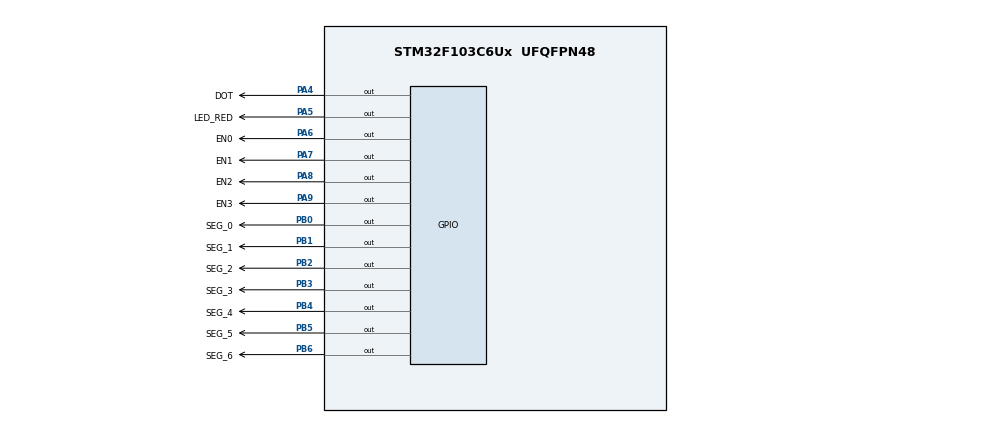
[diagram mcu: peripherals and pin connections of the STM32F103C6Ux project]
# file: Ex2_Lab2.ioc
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Mcu.Family=STM32F1
Mcu.Name=STM32F103C6Ux
Mcu.Package=UFQFPN48
NVIC.PriorityGroup=NVIC_PRIORITYGROUP_4
NVIC.TIM2_IRQn=true\:0\:0\:false\:false\:true\:true\:true
PA4.GPIO_Label=DOT
PA4.Signal=GPIO_Output
PA5.GPIO_Label=LED_RED
PA5.Signal=GPIO_Output
PA6.GPIO_Label=EN0
PA6.Signal=GPIO_Output
PA7.GPIO_Label=EN1
PA7.Signal=GPIO_Output
PA8.GPIO_Label=EN2
PA8.Signal=GPIO_Output
PA9.GPIO_Label=EN3
PA9.Signal=GPIO_Output
PB0.GPIO_Label=SEG_0
PB0.Signal=GPIO_Output
PB1.GPIO_Label=SEG_1
PB1.Signal=GPIO_Output
PB2.GPIO_Label=SEG_2
PB2.Signal=GPIO_Output
PB3.GPIO_Label=SEG_3
PB3.Signal=GPIO_Output
PB4.GPIO_Label=SEG_4
PB4.Signal=GPIO_Output
PB5.GPIO_Label=SEG_5
PB5.Signal=GPIO_Output
PB6.GPIO_Label=SEG_6
PB6.Signal=GPIO_Output
ProjectManager.HeapSize=0x200
ProjectManager.StackSize=0x400
ProjectManager.TargetToolchain=STM32CubeIDE
RCC.APB1Freq_Value=8000000
RCC.APB2Freq_Value=8000000
TIM2.Period=9
TIM2.Prescaler=7999
VP_SYS_VS_ND.Mode=No_Debug
VP_TIM2_VS_ClockSourceINT.Mode=Internal
board=custom

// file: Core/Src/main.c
/* USER CODE BEGIN Header */
/**
  ******************************************************************************
  * @file           : main.c
  * @brief          : Main program body
  ******************************************************************************
  * @attention
  *
  * <h2><center>&copy; Copyright (c) 2024 STMicroelectronics.
  * All rights reserved.</center></h2>
  *
  * This software component is licensed by ST under BSD 3-Clause license,
  * the "License"; You may not use this file except in compliance with the
  * License. You may obtain a copy of the License at:
  *                        opensource.org/licenses/BSD-3-Clause
  *
  ******************************************************************************
  */
/* USER CODE END Header */
#include "main.h"

TIM_HandleTypeDef htim2;

void SystemClock_Config(void);
static void MX_GPIO_Init(void);
static void MX_TIM2_Init(void);

int main(void)
{

  /* MCU Configuration--------------------------------------------------------*/

  /* Reset of all peripherals, Initializes the Flash interface and the Systick. */
  HAL_Init();

  /* Configure the system clock */
  SystemClock_Config();

  /* Initialize all configured peripherals */
  MX_GPIO_Init();
  MX_TIM2_Init();
  /* USER CODE BEGIN 2 */
  HAL_TIM_Base_Start_IT(&htim2);

  /* USER CODE END 2 */

  /* Infinite loop */
  while (1)
  {

  }
}

void SystemClock_Config(void)
{
  RCC_OscInitTypeDef RCC_OscInitStruct = {0};
  RCC_ClkInitTypeDef RCC_ClkInitStruct = {0};

  /** Initializes the RCC Oscillators according to the specified parameters
  * in the RCC_OscInitTypeDef structure.
  */
  RCC_OscInitStruct.OscillatorType = RCC_OSCILLATORTYPE_HSI;
  RCC_OscInitStruct.HSIState = RCC_HSI_ON;
  RCC_OscInitStruct.HSICalibrationValue = RCC_HSICALIBRATION_DEFAULT;
  RCC_OscInitStruct.PLL.PLLState = RCC_PLL_NONE;
  if (HAL_RCC_OscConfig(&RCC_OscInitStruct) != HAL_OK)
  {
    Error_Handler();
  }
  /** Initializes the CPU, AHB and APB buses clocks
  */
  RCC_ClkInitStruct.ClockType = RCC_CLOCKTYPE_HCLK|RCC_CLOCKTYPE_SYSCLK
                              |RCC_CLOCKTYPE_PCLK1|RCC_CLOCKTYPE_PCLK2;
  RCC_ClkInitStruct.SYSCLKSource = RCC_SYSCLKSOURCE_HSI;
  RCC_ClkInitStruct.AHBCLKDivider = RCC_SYSCLK_DIV1;
  RCC_ClkInitStruct.APB1CLKDivider = RCC_HCLK_DIV1;
  RCC_ClkInitStruct.APB2CLKDivider = RCC_HCLK_DIV1;

  if (HAL_RCC_ClockConfig(&RCC_ClkInitStruct, FLASH_LATENCY_0) != HAL_OK)
  {
    Error_Handler();
  }
}

static void MX_TIM2_Init(void)
{

  TIM_ClockConfigTypeDef sClockSourceConfig = {0};
  TIM_MasterConfigTypeDef sMasterConfig = {0};

  htim2.Instance = TIM2;
  htim2.Init.Prescaler = 7999;
  htim2.Init.CounterMode = TIM_COUNTERMODE_UP;
  htim2.Init.Period = 9;
  htim2.Init.ClockDivision = TIM_CLOCKDIVISION_DIV1;
  htim2.Init.AutoReloadPreload = TIM_AUTORELOAD_PRELOAD_DISABLE;
  if (HAL_TIM_Base_Init(&htim2) != HAL_OK)
  {
    Error_Handler();
  }
  sClockSourceConfig.ClockSource = TIM_CLOCKSOURCE_INTERNAL;
  if (HAL_TIM_ConfigClockSource(&htim2, &sClockSourceConfig) != HAL_OK)
  {
    Error_Handler();
  }
  sMasterConfig.MasterOutputTrigger = TIM_TRGO_RESET;
  sMasterConfig.MasterSlaveMode = TIM_MASTERSLAVEMODE_DISABLE;
  if (HAL_TIMEx_MasterConfigSynchronization(&htim2, &sMasterConfig) != HAL_OK)
  {
    Error_Handler();
  }

}

static void MX_GPIO_Init(void)
{
  GPIO_InitTypeDef GPIO_InitStruct = {0};

  /* GPIO Ports Clock Enable */
  __HAL_RCC_GPIOA_CLK_ENABLE();
  __HAL_RCC_GPIOB_CLK_ENABLE();

  /*Configure GPIO pin Output Level */
  HAL_GPIO_WritePin(GPIOA, DOT_Pin|LED_RED_Pin|EN0_Pin|EN1_Pin
                          |EN2_Pin|EN3_Pin, GPIO_PIN_RESET);

  /*Configure GPIO pin Output Level */
  HAL_GPIO_WritePin(GPIOB, SEG_0_Pin|SEG_1_Pin|SEG_2_Pin|SEG_3_Pin
                          |SEG_4_Pin|SEG_5_Pin|SEG_6_Pin, GPIO_PIN_RESET);

  /*Configure GPIO pins : DOT_Pin LED_RED_Pin EN0_Pin EN1_Pin
                           EN2_Pin EN3_Pin */
  GPIO_InitStruct.Pin = DOT_Pin|LED_RED_Pin|EN0_Pin|EN1_Pin
                          |EN2_Pin|EN3_Pin;
  GPIO_InitStruct.Mode = GPIO_MODE_OUTPUT_PP;
  GPIO_InitStruct.Pull = GPIO_NOPULL;
  GPIO_InitStruct.Speed = GPIO_SPEED_FREQ_LOW;
  HAL_GPIO_Init(GPIOA, &GPIO_InitStruct);

  /*Configure GPIO pins : SEG_0_Pin SEG_1_Pin SEG_2_Pin SEG_3_Pin
                           SEG_4_Pin SEG_5_Pin SEG_6_Pin */
  GPIO_InitStruct.Pin = SEG_0_Pin|SEG_1_Pin|SEG_2_Pin|SEG_3_Pin
                          |SEG_4_Pin|SEG_5_Pin|SEG_6_Pin;
  GPIO_InitStruct.Mode = GPIO_MODE_OUTPUT_PP;
  GPIO_InitStruct.Pull = GPIO_NOPULL;
  GPIO_InitStruct.Speed = GPIO_SPEED_FREQ_LOW;
  HAL_GPIO_Init(GPIOB, &GPIO_InitStruct);

}

/* USER CODE BEGIN 4 */
void display7SEG(int num)
  {
	  if (num == 0)
	  {
		  HAL_GPIO_WritePin(SEG_0_GPIO_Port, SEG_0_Pin, GPIO_PIN_RESET);
		  HAL_GPIO_WritePin(SEG_1_GPIO_Port, SEG_1_Pin, GPIO_PIN_RESET);
		  HAL_GPIO_WritePin(SEG_2_GPIO_Port, SEG_2_Pin, GPIO_PIN_RESET);
		  HAL_GPIO_WritePin(SEG_3_GPIO_Port, SEG_3_Pin, GPIO_PIN_RESET);
		  HAL_GPIO_WritePin(SEG_4_GPIO_Port, SEG_4_Pin, GPIO_PIN_RESET);
		  HAL_GPIO_WritePin(SEG_5_GPIO_Port, SEG_5_Pin, GPIO_PIN_RESET);
		  HAL_GPIO_WritePin(SEG_6_GPIO_Port, SEG_6_Pin, GPIO_PIN_SET);
	  }
	  else if (num == 1)
	  {
		  HAL_GPIO_WritePin(SEG_0_GPIO_Port, SEG_0_Pin, GPIO_PIN_SET);
		  HAL_GPIO_WritePin(SEG_1_GPIO_Port, SEG_1_Pin, GPIO_PIN_RESET);
		  HAL_GPIO_WritePin(SEG_2_GPIO_Port, SEG_2_Pin, GPIO_PIN_RESET);
		  HAL_GPIO_WritePin(SEG_3_GPIO_Port, SEG_3_Pin, GPIO_PIN_SET);
		  HAL_GPIO_WritePin(SEG_4_GPIO_Port, SEG_4_Pin, GPIO_PIN_SET);
		  HAL_GPIO_WritePin(SEG_5_GPIO_Port, SEG_5_Pin, GPIO_PIN_SET);
		  HAL_GPIO_WritePin(SEG_6_GPIO_Port, SEG_6_Pin, GPIO_PIN_SET);
	  }
	  else if (num == 2)
	  {
		  HAL_GPIO_WritePin(SEG_0_GPIO_Port, SEG_0_Pin, GPIO_PIN_RESET);
		  HAL_GPIO_WritePin(SEG_1_GPIO_Port, SEG_1_Pin, GPIO_PIN_RESET);
		  HAL_GPIO_WritePin(SEG_2_GPIO_Port, SEG_2_Pin, GPIO_PIN_SET);
		  HAL_GPIO_WritePin(SEG_3_GPIO_Port, SEG_3_Pin, GPIO_PIN_RESET);
		  HAL_GPIO_WritePin(SEG_4_GPIO_Port, SEG_4_Pin, GPIO_PIN_RESET);
		  HAL_GPIO_WritePin(SEG_5_GPIO_Port, SEG_5_Pin, GPIO_PIN_SET);
		  HAL_GPIO_WritePin(SEG_6_GPIO_Port, SEG_6_Pin, GPIO_PIN_RESET);
	  }
	  else if (num == 3)
	  {
		  HAL_GPIO_WritePin(SEG_0_GPIO_Port, SEG_0_Pin, GPIO_PIN_RESET);
		  HAL_GPIO_WritePin(SEG_1_GPIO_Port, SEG_1_Pin, GPIO_PIN_RESET);
		  HAL_GPIO_WritePin(SEG_2_GPIO_Port, SEG_2_Pin, GPIO_PIN_RESET);
		  HAL_GPIO_WritePin(SEG_3_GPIO_Port, SEG_3_Pin, GPIO_PIN_RESET);
		  HAL_GPIO_WritePin(SEG_4_GPIO_Port, SEG_4_Pin, GPIO_PIN_SET);
		  HAL_GPIO_WritePin(SEG_5_GPIO_Port, SEG_5_Pin, GPIO_PIN_SET);
		  HAL_GPIO_WritePin(SEG_6_GPIO_Port, SEG_6_Pin, GPIO_PIN_RESET);
	  }
	  else if (num == 4)
	  {
		  HAL_GPIO_WritePin(SEG_0_GPIO_Port, SEG_0_Pin, GPIO_PIN_SET);
		  HAL_GPIO_WritePin(SEG_1_GPIO_Port, SEG_1_Pin, GPIO_PIN_RESET);
		  HAL_GPIO_WritePin(SEG_2_GPIO_Port, SEG_2_Pin, GPIO_PIN_RESET);
		  HAL_GPIO_WritePin(SEG_3_GPIO_Port, SEG_3_Pin, GPIO_PIN_SET);
		  HAL_GPIO_WritePin(SEG_4_GPIO_Port, SEG_4_Pin, GPIO_PIN_SET);
		  HAL_GPIO_WritePin(SEG_5_GPIO_Port, SEG_5_Pin, GPIO_PIN_RESET);
		  HAL_GPIO_WritePin(SEG_6_GPIO_Port, SEG_6_Pin, GPIO_PIN_RESET);
	  }
	  else if (num == 5)
	  {
		  HAL_GPIO_WritePin(SEG_0_GPIO_Port, SEG_0_Pin, GPIO_PIN_RESET);
		  HAL_GPIO_WritePin(SEG_1_GPIO_Port, SEG_1_Pin, GPIO_PIN_SET);
		  HAL_GPIO_WritePin(SEG_2_GPIO_Port, SEG_2_Pin, GPIO_PIN_RESET);
		  HAL_GPIO_WritePin(SEG_3_GPIO_Port, SEG_3_Pin, GPIO_PIN_RESET);
		  HAL_GPIO_WritePin(SEG_4_GPIO_Port, SEG_4_Pin, GPIO_PIN_SET);
		  HAL_GPIO_WritePin(SEG_5_GPIO_Port, SEG_5_Pin, GPIO_PIN_RESET);
		  HAL_GPIO_WritePin(SEG_6_GPIO_Port, SEG_6_Pin, GPIO_PIN_RESET);
	  }
	  else if (num == 6)
	  {
		  HAL_GPIO_WritePin(SEG_0_GPIO_Port, SEG_0_Pin, GPIO_PIN_RESET);
		  HAL_GPIO_WritePin(SEG_1_GPIO_Port, SEG_1_Pin, GPIO_PIN_SET);
		  HAL_GPIO_WritePin(SEG_2_GPIO_Port, SEG_2_Pin, GPIO_PIN_RESET);
		  HAL_GPIO_WritePin(SEG_3_GPIO_Port, SEG_3_Pin, GPIO_PIN_RESET);
		  HAL_GPIO_WritePin(SEG_4_GPIO_Port, SEG_4_Pin, GPIO_PIN_RESET);
		  HAL_GPIO_WritePin(SEG_5_GPIO_Port, SEG_5_Pin, GPIO_PIN_RESET);
		  HAL_GPIO_WritePin(SEG_6_GPIO_Port, SEG_6_Pin, GPIO_PIN_RESET);
	  }
	  else if (num == 7)
	  {
		  HAL_GPIO_WritePin(SEG_0_GPIO_Port, SEG_0_Pin, GPIO_PIN_RESET);
		  HAL_GPIO_WritePin(SEG_1_GPIO_Port, SEG_1_Pin, GPIO_PIN_RESET);
		  HAL_GPIO_WritePin(SEG_2_GPIO_Port, SEG_2_Pin, GPIO_PIN_RESET);
		  HAL_GPIO_WritePin(SEG_3_GPIO_Port, SEG_3_Pin, GPIO_PIN_SET);
		  HAL_GPIO_WritePin(SEG_4_GPIO_Port, SEG_4_Pin, GPIO_PIN_SET);
		  HAL_GPIO_WritePin(SEG_5_GPIO_Port, SEG_5_Pin, GPIO_PIN_SET);
		  HAL_GPIO_WritePin(SEG_6_GPIO_Port, SEG_6_Pin, GPIO_PIN_SET);
	  }
	  else if (num == 8)
	  {
		  HAL_GPIO_WritePin(SEG_0_GPIO_Port, SEG_0_Pin, GPIO_PIN_RESET);
		  HAL_GPIO_WritePin(SEG_1_GPIO_Port, SEG_1_Pin, GPIO_PIN_RESET);
		  HAL_GPIO_WritePin(SEG_2_GPIO_Port, SEG_2_Pin, GPIO_PIN_RESET);
		  HAL_GPIO_WritePin(SEG_3_GPIO_Port, SEG_3_Pin, GPIO_PIN_RESET);
		  HAL_GPIO_WritePin(SEG_4_GPIO_Port, SEG_4_Pin, GPIO_PIN_RESET);
		  HAL_GPIO_WritePin(SEG_5_GPIO_Port, SEG_5_Pin, GPIO_PIN_RESET);
		  HAL_GPIO_WritePin(SEG_6_GPIO_Port, SEG_6_Pin, GPIO_PIN_RESET);
	  }
	  else if (num == 9)
	  {
		  HAL_GPIO_WritePin(SEG_0_GPIO_Port, SEG_0_Pin, GPIO_PIN_RESET);
		  HAL_GPIO_WritePin(SEG_1_GPIO_Port, SEG_1_Pin, GPIO_PIN_RESET);
		  HAL_GPIO_WritePin(SEG_2_GPIO_Port, SEG_2_Pin, GPIO_PIN_RESET);
		  HAL_GPIO_WritePin(SEG_3_GPIO_Port, SEG_3_Pin, GPIO_PIN_RESET);
		  HAL_GPIO_WritePin(SEG_4_GPIO_Port, SEG_4_Pin, GPIO_PIN_SET);
		  HAL_GPIO_WritePin(SEG_5_GPIO_Port, SEG_5_Pin, GPIO_PIN_RESET);
		  HAL_GPIO_WritePin(SEG_6_GPIO_Port, SEG_6_Pin, GPIO_PIN_RESET);
	  }
  }

int status = 0;
int counter = 50;
int counter1 = 100;
  void HAL_TIM_PeriodElapsedCallback(TIM_HandleTypeDef *htim)
      {
      	if(status == 0)
      	{
      		counter--;
      		HAL_GPIO_WritePin(EN0_GPIO_Port, EN0_Pin, GPIO_PIN_RESET);
      		HAL_GPIO_WritePin(EN1_GPIO_Port, EN1_Pin, GPIO_PIN_SET);
      		HAL_GPIO_WritePin(EN2_GPIO_Port, EN2_Pin, GPIO_PIN_SET);
      		HAL_GPIO_WritePin(EN3_GPIO_Port, EN3_Pin, GPIO_PIN_SET);
      		display7SEG(1);
      		if(counter <= 0)
      		{
      			counter = 50;
      			status++;
      		}
      	}
      	if(status == 1)
      	{
      		counter--;
      		HAL_GPIO_WritePin(EN0_GPIO_Port, EN0_Pin, GPIO_PIN_SET);
      		HAL_GPIO_WritePin(EN1_GPIO_Port, EN1_Pin, GPIO_PIN_RESET);
      		HAL_GPIO_WritePin(EN2_GPIO_Port, EN2_Pin, GPIO_PIN_SET);
      		HAL_GPIO_WritePin(EN3_GPIO_Port, EN3_Pin, GPIO_PIN_SET);
      		display7SEG(2);
      		if(counter <= 0)
      		{
      			counter = 50;
      			status++;
      		}
      	}
      	if(status == 2)
      	{
      		counter--;
      		HAL_GPIO_WritePin(EN0_GPIO_Port, EN0_Pin, GPIO_PIN_SET);
      		HAL_GPIO_WritePin(EN1_GPIO_Port, EN1_Pin, GPIO_PIN_SET);
      		HAL_GPIO_WritePin(EN2_GPIO_Port, EN2_Pin, GPIO_PIN_RESET);
      		HAL_GPIO_WritePin(EN3_GPIO_Port, EN3_Pin, GPIO_PIN_SET);
      		display7SEG(3);
      		if(counter <= 0)
      		{
      			counter = 50;
      			status++;
      		}
      	}
        if(status == 3)
        {
          	counter--;
          	HAL_GPIO_WritePin(EN0_GPIO_Port, EN0_Pin, GPIO_PIN_SET);
          	HAL_GPIO_WritePin(EN1_GPIO_Port, EN1_Pin, GPIO_PIN_SET);
         	HAL_GPIO_WritePin(EN2_GPIO_Port, EN2_Pin, GPIO_PIN_SET);
          	HAL_GPIO_WritePin(EN3_GPIO_Port, EN3_Pin, GPIO_PIN_RESET);
          	display7SEG(0);
          	if(counter <= 0)
          	{
          		counter = 50;
          		status++;
          	}
         }
        if(status >= 4)
        {
        	status = 0;
        }
      	counter1--;
      	if (counter1 <= 0)
      	{
      		counter1 = 100;
      		HAL_GPIO_TogglePin(LED_RED_GPIO_Port, LED_RED_Pin);
      		HAL_GPIO_TogglePin(DOT_GPIO_Port, DOT_Pin);
      	}
      }
/* USER CODE END 4 */

void Error_Handler(void)
{
  __disable_irq();
  while (1)
  {
  }
}

/************************ (C) COPYRIGHT STMicroelectronics *****END OF FILE****/
